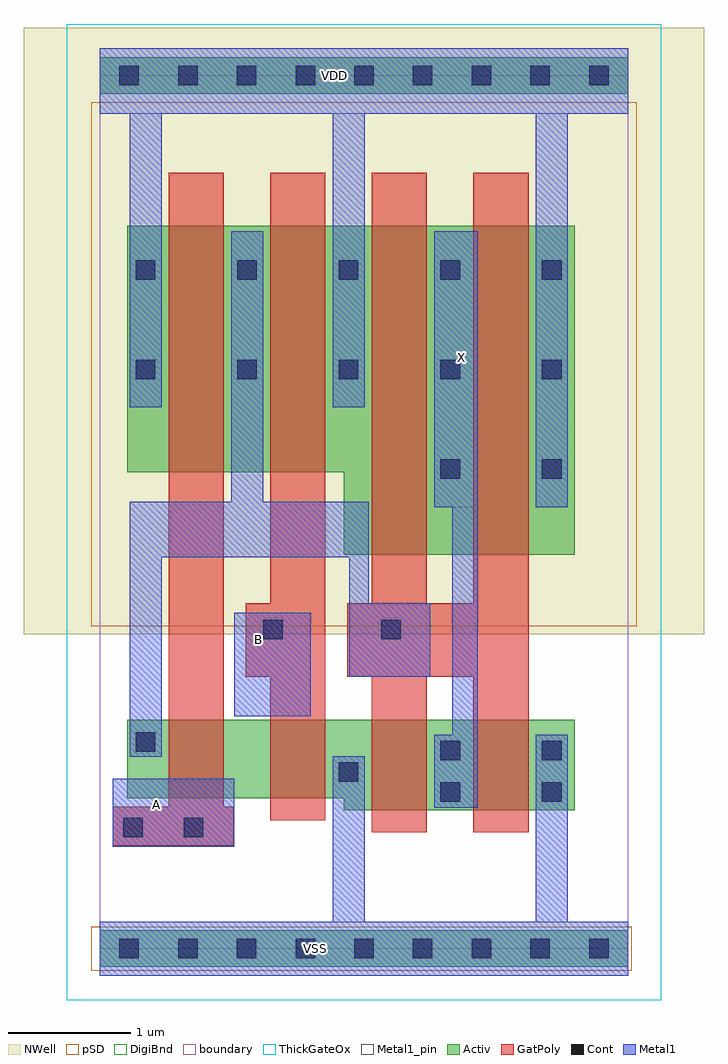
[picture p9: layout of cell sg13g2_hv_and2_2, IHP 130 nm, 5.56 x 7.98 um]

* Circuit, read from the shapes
.subckt sg13g2_hv_and2_2 A B VDD VSS X
XM1 n1 A n2 VSS sg13_hv_nmos w=0.64u l=0.45u
XM2 VSS B n1 VSS sg13_hv_nmos w=0.64u l=0.45u
XM3 X n2 VSS VSS sg13_hv_nmos w=0.74u l=0.45u m=2
XM4 n2 A VDD VDD sg13_hv_pmos w=2.015u l=0.45u
XM5 VDD B n2 VDD sg13_hv_pmos w=2.015u l=0.45u
XM6 X n2 VDD VDD sg13_hv_pmos w=2.69u l=0.45u m=2
.ends

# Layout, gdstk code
import gdstk
lib = gdstk.Library(unit=1e-6, precision=1e-09)
def R(c, l, rs):  # rectangles x0, y0, x1, y1
    for r in rs: c.add(gdstk.rectangle(r[:2], r[2:], *l))
def A(c, l, x, y, w, h, nx, ny, dx, dy):  # array of equal rectangles
    R(c, l, [(x+i*dx, y+j*dy, x+i*dx+w, y+j*dy+h) for i in range(nx) for j in range(ny)])
def P(c, l, *ps):  # polygons
    for p in ps: c.add(gdstk.Polygon(p, *l))
Activ = (1, 0)
GatPoly = (5, 0)
Cont = (6, 0)
Metal1 = (8, 0)
Metal1_pin = (8, 2)
pSD = (14, 0)
DigiBnd = (16, 0)
NWell = (31, 0)
ThickGateOx = (44, 0)
boundary = (189, 4)

sg13g2_hv_and2_2 = lib.new_cell('sg13g2_hv_and2_2')
R(sg13g2_hv_and2_2, Activ, [(0,-0.15,4.32,0.15), (0,6.99,4.32,7.29)])
P(sg13g2_hv_and2_2, Activ, [(1.995,1.13),(1.995,1.23),(0.225,1.23),(0.225,1.87),(3.885,1.87),(3.885,1.13)],
  [(1.995,3.22),(1.995,3.895),(0.225,3.895),(0.225,5.91),(3.885,5.91),(3.885,3.22)])
P(sg13g2_hv_and2_2, GatPoly, [(2.225,0.95),(2.225,2.225),(2.025,2.225),(2.025,2.825),(2.225,2.825),(2.225,6.345),(2.675,6.345),(2.675,2.825),(3.055,2.825),(3.055,6.345),(3.505,6.345),(3.505,0.95),(3.055,0.95),(3.055,2.225),(2.675,2.225),(2.675,0.95)],
  [(0.105,0.84),(0.105,1.16),(0.565,1.16),(0.565,6.345),(1.015,6.345),(1.015,1.16),(1.095,1.16),(1.095,0.84)],
  [(1.395,1.05),(1.395,2.225),(1.195,2.225),(1.195,2.825),(1.395,2.825),(1.395,6.345),(1.845,6.345),(1.845,1.05)])
A(sg13g2_hv_and2_2, Cont, 0.16, -0.08, 0.16, 0.16, 9, 2, 0.48, 7.14)
A(sg13g2_hv_and2_2, Cont, 0.295, 4.655, 0.16, 0.16, 5, 2, 0.83, 0.815)
R(sg13g2_hv_and2_2, Cont, [(0.19,0.91,0.35,1.07), (0.685,0.91,0.845,1.07), (2.785,1.2,2.945,1.36), (3.615,1.2,3.775,1.36), (1.955,1.365,2.115,1.525), (2.785,1.54,2.945,1.7), (3.615,1.54,3.775,1.7), (0.295,1.61,0.455,1.77), (1.335,2.53,1.495,2.69), (2.3,2.53,2.46,2.69), (2.785,3.84,2.945,4), (3.615,3.84,3.775,4)])
R(sg13g2_hv_and2_2, Metal1, [(0.105,0.835,1.1,1.39), (1.1,1.9,1.725,2.745)])
P(sg13g2_hv_and2_2, Metal1, [(2.735,1.15),(2.735,1.75),(2.88,1.75),(2.88,3.61),(2.735,3.61),(2.735,5.865),(3.09,5.865),(3.09,1.15)],
  [(0,-0.22),(0,0.22),(1.905,0.22),(1.905,1.575),(2.165,1.575),(2.165,0.22),(3.565,0.22),(3.565,1.75),(3.825,1.75),(3.825,0.22),(4.32,0.22),(4.32,-0.22)],
  [(0.245,1.57),(0.245,3.655),(1.075,3.655),(1.075,5.865),(1.335,5.865),(1.335,3.655),(2.2,3.655),(2.2,2.825),(2.7,2.825),(2.7,2.225),(2.04,2.225),(2.04,3.2),(0.505,3.2),(0.505,1.57)],
  [(3.565,3.61),(3.565,6.825),(2.165,6.825),(2.165,4.425),(1.905,4.425),(1.905,6.825),(0.505,6.825),(0.505,4.425),(0.245,4.425),(0.245,6.825),(0,6.825),(0,7.36),(4.32,7.36),(4.32,6.825),(3.825,6.825),(3.825,3.61)])
R(sg13g2_hv_and2_2, Metal1_pin, [(0,-0.22,4.32,0.22), (0.105,0.835,1.1,1.39), (1.1,1.9,1.725,2.745), (2.735,3.61,3.09,5.865), (0,6.825,4.32,7.36)])
R(sg13g2_hv_and2_2, pSD, [(-0.07,-0.18,4.35,0.18), (-0.07,2.635,4.39,6.92)])
R(sg13g2_hv_and2_2, DigiBnd, [(0,0,4.32,7.14)])
R(sg13g2_hv_and2_2, NWell, [(-0.62,2.57,4.94,7.53)])
R(sg13g2_hv_and2_2, ThickGateOx, [(-0.27,-0.42,4.59,7.56)])
R(sg13g2_hv_and2_2, boundary, [(0,0,4.32,7.14)])
sg13g2_hv_and2_2.add(gdstk.Label('X', (2.955,4.83), layer=8, texttype=25))
sg13g2_hv_and2_2.add(gdstk.Label('VSS', (1.76,0), layer=8, texttype=25))
sg13g2_hv_and2_2.add(gdstk.Label('VDD', (1.915,7.14), layer=8, texttype=25))
sg13g2_hv_and2_2.add(gdstk.Label('B', (1.3,2.53), layer=8, texttype=25))
sg13g2_hv_and2_2.add(gdstk.Label('A', (0.465,1.175), layer=8, texttype=25))

lib.write_gds('sg13g2_hv_and2_2.gds')
